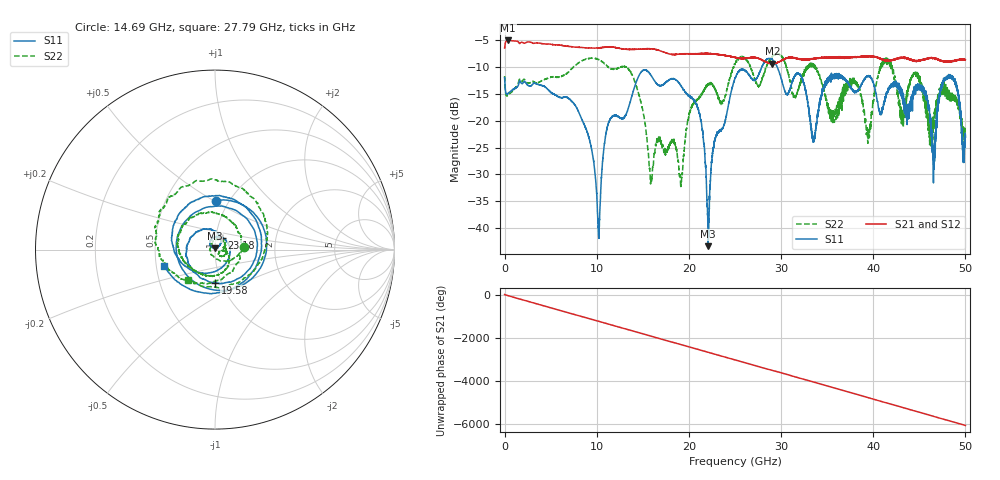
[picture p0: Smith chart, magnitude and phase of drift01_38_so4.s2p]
!Created with skrf (http://scikit-rf.org).
# Hz S RI R 50.0
!freq ReS11 ImS11 ReS21 ImS21 ReS12 ImS12 ReS22 ImS22
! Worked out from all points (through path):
!   10001 points, 300 kHz to 50 GHz, reference 50 ohm
!   highest |S21| = -5.05 dB at 390.3 MHz (marker M1); lowest = -9.4 dB at 29.06 GHz (marker M2)
!   group delay of S21, straight-line fit = 336 ps
!   lowest |S11| = -43.4 dB at 22.09 GHz (marker M3), VSWR 1.01, Z = 49.9 + j0.67 ohm
!   |S11| at or under -10 dB: start of sweep to 27.92 GHz; 29.59 GHz to end of sweep
!   |S22| runs from -32.3 to -7.5 dB; largest |S21 - S12| = 0.012
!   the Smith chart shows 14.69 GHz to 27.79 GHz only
!   S11 on the Smith chart (normalised r, x): 14.69 GHz: 0.87, +0.51; 19.58 GHz: 0.93, -0.36; 23.18 GHz: 1.07, +0.14; 27.79 GHz: 0.55, -0.11
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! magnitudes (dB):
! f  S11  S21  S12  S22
! 300 kHz  -12.0  -6.5  -6.5  -11.7
! 390.3 MHz  -14.9  -5.1  -5.1  -15.2
! 8.335 GHz  -19.6  -6.4  -6.4  -8.9
! 10.21 GHz  -41.6  -6.4  -6.4  -8.6
! 11.25 GHz  -20.6  -6.3  -6.2  -10.0
! 14.69 GHz  -11.3  -6.7  -6.7  -15.9
! 15.88 GHz  -11.5  -6.6  -6.6  -31.0
! 16.67 GHz  -13.4  -6.9  -6.9  -23.2
! 19.58 GHz  -14.7  -7.5  -7.5  -23.8
! 21.21 GHz  -19.2  -7.5  -7.5  -15.5
! 22.09 GHz  -43.4  -7.5  -7.5  -13.3
! 23.18 GHz  -22.2  -7.7  -7.7  -15.8
! 25 GHz  -12.1  -8.2  -8.3  -9.5
! 27.79 GHz  -10.5  -8.6  -8.6  -12.9
! 29.06 GHz  -8.6  -9.4  -9.4  -8.1
! 33.34 GHz  -22.5  -8.5  -8.5  -9.6
! 39.47 GHz  -11.7  -8.0  -7.9  -22.3
! 41.67 GHz  -13.9  -8.8  -8.7  -8.9
! 45.47 GHz  -13.8  -8.5  -8.6  -15.8
! 46.56 GHz  -26.9  -8.4  -8.4  -20.2
! 48.52 GHz  -11.7  -8.9  -9.0  -15.2
! 50 GHz  -23.0  -8.7  -8.6  -23.0
